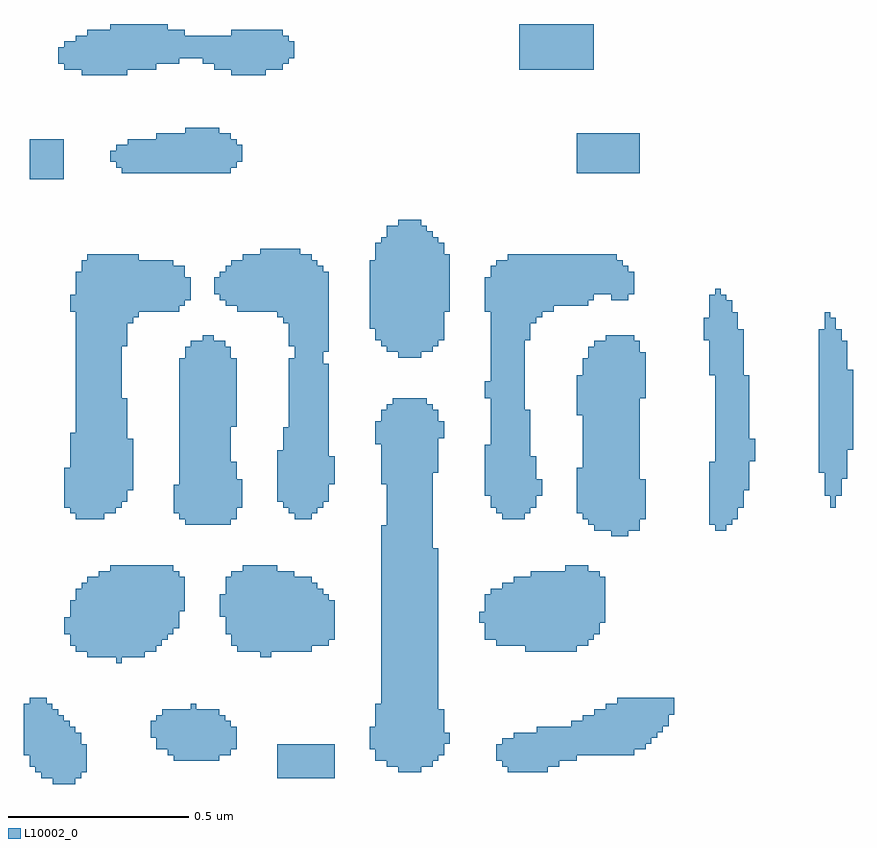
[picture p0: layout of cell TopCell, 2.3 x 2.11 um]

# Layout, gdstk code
import gdstk
lib = gdstk.Library(unit=1e-6, precision=1e-09)
def R(c, l, rs):  # rectangles x0, y0, x1, y1
    for r in rs: c.add(gdstk.rectangle(r[:2], r[2:], *l))
L10002_0 = (10002, 0)

topcell = lib.new_cell('TopCell')
R(topcell, L10002_0, [(1.104,1.072,1.119,1.279), (1.119,1.072,1.135,1.263), (1.135,1.072,1.151,1.247), (1.151,1.072,1.167,1.231), (1.072,1.088,1.087,1.311), (1.087,1.088,1.103,1.295), (1.103,1.088,1.104,1.279), (1.167,1.088,1.183,1.215), (1.728,1.088,1.887,1.183), (1.056,1.104,1.072,1.311), (1.183,1.104,1.199,1.183), (2.064,1.104,2.127,2.143), (2.368,1.104,2.479,1.199), (1.04,1.12,1.056,1.311), (2.032,1.12,2.064,2.127), (2.127,1.12,2.143,2.143), (2.143,1.12,2.159,2.127), (2.352,1.12,2.368,1.199), (2.479,1.12,2.511,1.231), (1.44,1.136,1.567,1.279), (2,1.136,2.032,1.295), (2.159,1.136,2.175,1.727), (2.336,1.136,2.352,1.183), (2.511,1.136,2.559,1.231), (1.024,1.152,1.04,1.295), (1.424,1.152,1.44,1.279), (1.567,1.152,1.583,1.263), (1.583,1.152,1.599,1.247), (2.175,1.152,2.191,1.279), (2.559,1.152,2.719,1.247), (1.392,1.168,1.424,1.263), (1.599,1.168,1.615,1.231), (1.984,1.168,2,1.231), (2.719,1.168,2.751,1.311), (2.191,1.184,2.207,1.215), (2.751,1.184,2.767,1.311), (2.384,1.199,2.479,1.215), (1.376,1.2,1.392,1.247), (2.767,1.2,2.783,1.311), (2.448,1.215,2.479,1.231), (2.783,1.216,2.799,1.311), (2.544,1.231,2.559,1.247), (2.799,1.232,2.815,1.311), (2.576,1.247,2.719,1.263), (1.408,1.263,1.424,1.279), (2.608,1.263,2.719,1.279), (2.815,1.264,2.831,1.311), (1.488,1.279,1.503,1.295), (2.64,1.279,2.719,1.295), (2.016,1.295,2.032,1.791), (2.672,1.295,2.719,1.311), (1.28,1.408,1.295,1.679), (1.2,1.424,1.28,1.647), (1.295,1.424,1.359,1.679), (1.68,1.424,1.711,1.679), (1.168,1.44,1.2,1.615), (1.359,1.44,1.391,1.679), (1.616,1.44,1.68,1.663), (1.711,1.44,1.727,1.679), (1.727,1.44,1.775,1.663), (1.775,1.44,1.823,1.647), (2.416,1.44,2.559,1.647), (1.152,1.456,1.168,1.583), (1.391,1.456,1.407,1.679), (1.6,1.456,1.616,1.663), (1.823,1.456,1.839,1.631), (1.839,1.456,1.855,1.615), (1.855,1.456,1.871,1.599), (2.336,1.456,2.416,1.615), (2.559,1.456,2.591,1.679), (1.407,1.472,1.423,1.679), (1.871,1.472,1.887,1.583), (2.304,1.472,2.336,1.599), (2.591,1.472,2.607,1.663), (1.136,1.488,1.152,1.535), (1.423,1.488,1.439,1.679), (1.584,1.488,1.6,1.647), (2.607,1.488,2.623,1.663), (1.439,1.504,1.455,1.663), (2.288,1.52,2.304,1.551), (2.623,1.52,2.639,1.647), (1.568,1.536,1.584,1.599), (1.455,1.552,1.471,1.647), (2.32,1.599,2.336,1.615), (1.184,1.615,1.2,1.631), (2.352,1.615,2.416,1.631), (2.384,1.631,2.416,1.647), (1.232,1.647,1.28,1.663), (2.432,1.647,2.559,1.663), (1.264,1.663,1.28,1.679), (1.632,1.663,1.68,1.679), (2.528,1.663,2.559,1.679), (2.656,1.76,2.703,2.319), (2.608,1.776,2.656,2.303), (2.703,1.776,2.719,2.319), (2.719,1.776,2.735,2.303), (2.944,1.776,2.959,2.447), (2.959,1.776,2.975,2.431), (1.472,1.792,1.599,2.287), (2.592,1.792,2.608,2.287), (2.928,1.792,2.944,1.967), (2.975,1.792,2.991,2.415), (1.168,1.808,1.247,2.495), (1.456,1.808,1.472,2.255), (1.599,1.808,1.615,1.967), (1.776,1.808,1.791,2.559), (1.791,1.808,1.823,2.543), (2.352,1.808,2.415,2.527), (2.576,1.808,2.592,2.255), (2.735,1.808,2.751,1.919), (2.991,1.808,3.007,2.383), (1.152,1.824,1.168,2.047), (1.247,1.824,1.279,2.543), (1.44,1.824,1.456,1.903), (1.76,1.824,1.776,2.255), (1.823,1.824,1.839,2.527), (2.336,1.824,2.352,2.527), (2.415,1.824,2.431,2.111), (2.56,1.824,2.576,1.951), (1.136,1.84,1.152,1.951), (1.279,1.84,1.295,2.543), (1.615,1.84,1.631,1.919), (1.744,1.84,1.76,2.063), (1.839,1.84,1.855,2.511), (2.32,1.84,2.336,2.511), (2.431,1.84,2.447,1.983), (3.007,1.84,3.023,2.335), (3.264,1.84,3.279,2.367), (1.295,1.856,1.311,2.143), (1.728,1.856,1.744,1.999), (1.855,1.856,1.871,2.239), (2.304,1.872,2.32,2.015), (2.447,1.872,2.463,1.919), (3.248,1.872,3.263,2.383), (3.263,1.872,3.264,2.367), (3.279,1.872,3.295,2.335), (1.311,1.888,1.327,2.031), (3.023,1.888,3.039,2.207), (1.871,1.904,1.887,1.983), (2.016,1.904,2.032,2.111), (3.295,1.92,3.311,2.303), (2.159,1.936,2.175,2.111), (3.232,1.936,3.248,2.335), (3.039,1.968,3.055,2.031), (3.311,2,3.327,2.223), (2,2.016,2.016,2.079), (2.175,2.032,2.191,2.079), (1.599,2.064,1.615,2.255), (2.56,2.096,2.576,2.207), (2.048,2.127,2.064,2.143), (2.304,2.144,2.32,2.191), (2.735,2.144,2.751,2.271), (2.928,2.208,2.944,2.431), (2.064,2.256,2.127,2.639), (1.855,2.272,1.871,2.495), (2.032,2.272,2.064,2.623), (2.127,2.272,2.143,2.623), (2.143,2.272,2.159,2.607), (1.488,2.287,1.583,2.303), (1.295,2.288,1.311,2.543), (1.76,2.288,1.776,2.559), (2.016,2.288,2.032,2.591), (2.159,2.288,2.175,2.591), (1.52,2.303,1.551,2.319), (2.64,2.303,2.656,2.319), (2,2.304,2.016,2.575), (2.175,2.304,2.191,2.575), (2.415,2.304,2.431,2.543), (2.912,2.304,2.928,2.367), (1.984,2.336,2,2.527), (1.311,2.352,1.327,2.543), (1.744,2.352,1.76,2.559), (2.431,2.352,2.447,2.543), (1.327,2.368,1.343,2.543), (1.728,2.368,1.744,2.559), (2.447,2.368,2.463,2.543), (1.152,2.384,1.168,2.431), (1.343,2.384,1.439,2.527), (1.439,2.384,1.455,2.511), (1.616,2.384,1.728,2.527), (2.191,2.384,2.207,2.543), (2.304,2.384,2.32,2.479), (2.463,2.384,2.495,2.543), (1.455,2.4,1.471,2.511), (1.584,2.4,1.616,2.511), (2.495,2.4,2.591,2.543), (1.471,2.416,1.487,2.479), (1.568,2.416,1.584,2.495), (2.591,2.416,2.607,2.543), (2.656,2.416,2.671,2.543), (2.671,2.416,2.687,2.527), (2.687,2.416,2.703,2.511), (1.552,2.432,1.568,2.479), (2.607,2.432,2.656,2.543), (2.703,2.432,2.719,2.495), (1.184,2.495,1.247,2.527), (1.6,2.511,1.616,2.527), (1.2,2.527,1.247,2.543), (1.632,2.527,1.728,2.543), (2.368,2.527,2.415,2.543), (1.68,2.543,1.728,2.559), (1.04,2.752,1.135,2.863), (1.296,2.768,1.599,2.847), (2.56,2.768,2.735,2.879), (1.28,2.784,1.296,2.847), (1.599,2.784,1.615,2.863), (1.264,2.8,1.28,2.831), (1.615,2.8,1.631,2.847), (1.312,2.847,1.599,2.863), (1.392,2.863,1.599,2.879), (1.472,2.879,1.567,2.895), (1.184,3.04,1.311,3.151), (1.6,3.04,1.695,3.167), (1.136,3.056,1.184,3.135), (1.311,3.056,1.391,3.183), (1.552,3.056,1.6,3.151), (1.695,3.056,1.743,3.167), (2.4,3.056,2.607,3.183), (1.12,3.072,1.136,3.119), (1.391,3.072,1.423,3.183), (1.423,3.072,1.455,3.167), (1.52,3.072,1.552,3.151), (1.743,3.072,1.759,3.151), (1.455,3.088,1.471,3.167), (1.471,3.088,1.52,3.151), (1.759,3.088,1.775,3.135), (1.168,3.135,1.184,3.151), (1.2,3.151,1.311,3.167), (1.264,3.167,1.311,3.183)])

lib.write_gds('TopCell.gds')
